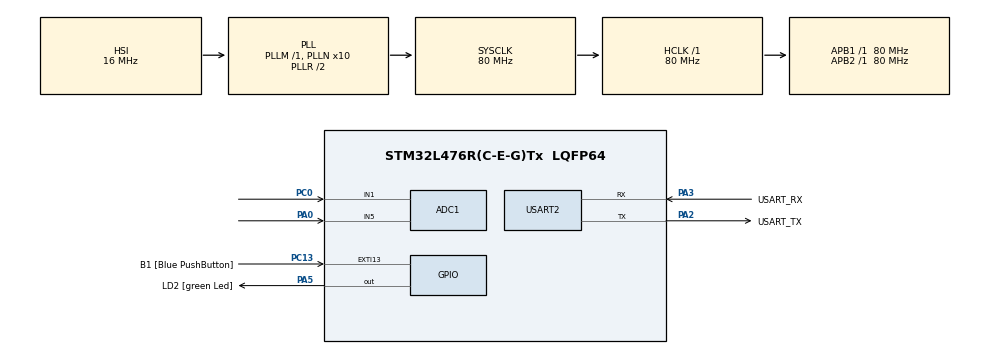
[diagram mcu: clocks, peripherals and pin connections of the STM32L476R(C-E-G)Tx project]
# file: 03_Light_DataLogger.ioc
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ADC1.Channel-0\#ChannelRegularConversion=ADC_CHANNEL_1
ADC1.Channel-1\#ChannelRegularConversion=ADC_CHANNEL_5
ADC1.ContinuousConvMode=DISABLE
ADC1.DiscontinuousConvMode=ENABLE
ADC1.NbrOfConversion=2
ADC1.NbrOfConversionFlag=1
ADC1.OffsetNumber-0\#ChannelRegularConversion=ADC_OFFSET_NONE
ADC1.OffsetNumber-1\#ChannelRegularConversion=ADC_OFFSET_NONE
ADC1.Rank-0\#ChannelRegularConversion=1
ADC1.Rank-1\#ChannelRegularConversion=2
ADC1.SamplingTime-0\#ChannelRegularConversion=ADC_SAMPLETIME_247CYCLES_5
ADC1.SamplingTime-1\#ChannelRegularConversion=ADC_SAMPLETIME_247CYCLES_5
ADC1.master=1
Mcu.Family=STM32L4
Mcu.Name=STM32L476R(C-E-G)Tx
Mcu.Package=LQFP64
NVIC.PriorityGroup=NVIC_PRIORITYGROUP_4
NVIC.TIM6_DAC_IRQn=true\:0\:0\:false\:false\:true\:true\:true\:true
NVIC.USART2_IRQn=true\:0\:0\:false\:false\:true\:true\:true\:true
PA0.Signal=ADCx_IN5
PA13\ (JTMS-SWDIO).GPIO_Label=TMS
PA13\ (JTMS-SWDIO).Mode=Serial_Wire
PA13\ (JTMS-SWDIO).Signal=SYS_JTMS-SWDIO
PA14\ (JTCK-SWCLK).GPIO_Label=TCK
PA14\ (JTCK-SWCLK).Mode=Serial_Wire
PA14\ (JTCK-SWCLK).Signal=SYS_JTCK-SWCLK
PA2.GPIO_Label=USART_TX
PA2.GPIO_Mode=GPIO_MODE_AF_PP
PA2.GPIO_PuPd=GPIO_NOPULL
PA2.GPIO_Speed=GPIO_SPEED_FREQ_VERY_HIGH
PA2.Mode=Asynchronous
PA2.Signal=USART2_TX
PA3.GPIO_Label=USART_RX
PA3.GPIO_Mode=GPIO_MODE_AF_PP
PA3.GPIO_PuPd=GPIO_NOPULL
PA3.GPIO_Speed=GPIO_SPEED_FREQ_VERY_HIGH
PA3.Mode=Asynchronous
PA3.Signal=USART2_RX
PA5.GPIO_Label=LD2 [green Led]
PA5.GPIO_ModeDefaultOutputPP=GPIO_MODE_OUTPUT_PP
PA5.GPIO_PuPd=GPIO_NOPULL
PA5.GPIO_Speed=GPIO_SPEED_FREQ_LOW
PA5.Signal=GPIO_Output
PB3\ (JTDO-TRACESWO).GPIO_Label=SWO
PB3\ (JTDO-TRACESWO).Signal=SYS_JTDO-SWO
PC0.Signal=ADCx_IN1
PC13.GPIO_Label=B1 [Blue PushButton]
PC13.GPIO_ModeDefaultEXTI=GPIO_MODE_IT_FALLING
PC13.GPIO_PuPd=GPIO_NOPULL
PC13.Signal=GPXTI13
PC14-OSC32_IN\ (PC14).Mode=LSE-External-Oscillator
PC14-OSC32_IN\ (PC14).Signal=RCC_OSC32_IN
PC15-OSC32_OUT\ (PC15).Mode=LSE-External-Oscillator
PC15-OSC32_OUT\ (PC15).Signal=RCC_OSC32_OUT
PH0-OSC_IN\ (PH0).Signal=RCC_OSC_IN
PH1-OSC_OUT\ (PH1).Signal=RCC_OSC_OUT
ProjectManager.HeapSize=0x200
ProjectManager.StackSize=0x400
ProjectManager.TargetToolchain=STM32CubeIDE
RCC.ADCFreq_Value=64000000
RCC.AHBFreq_Value=80000000
RCC.APB1Freq_Value=80000000
RCC.APB1TimFreq_Value=80000000
RCC.APB2Freq_Value=80000000
RCC.APB2TimFreq_Value=80000000
RCC.CortexFreq_Value=80000000
RCC.HCLKFreq_Value=80000000
RCC.HSE_VALUE=8000000
RCC.HSI_VALUE=16000000
RCC.MSI_VALUE=4000000
RCC.PLLN=10
RCC.PLLSourceVirtual=RCC_PLLSOURCE_HSI
RCC.PREFETCH_ENABLE=1
RCC.SYSCLKFreq_VALUE=80000000
RCC.SYSCLKSource=RCC_SYSCLKSOURCE_PLLCLK
RCC.USBFreq_Value=64000000
RCC.VCOOutputFreq_Value=160000000
SH.ADCx_IN1.0=ADC1_IN1,IN1-Single-Ended
SH.ADCx_IN5.0=ADC1_IN5,IN5-Single-Ended
TIM6.Period=999
TIM6.Prescaler=15999
USART2.VirtualMode-Asynchronous=VM_ASYNC
VP_TIM6_VS_ClockSourceINT.Mode=Enable_Timer
board=NUCLEO-L476RG

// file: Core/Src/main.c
/* USER CODE BEGIN Header */
/**
  ******************************************************************************
  * @file           : main.c
  * @brief          : Main program body
  ******************************************************************************
  * @attention
  *
  * Copyright (c) 2026 STMicroelectronics.
  * All rights reserved.
  *
  * This software is licensed under terms that can be found in the LICENSE file
  * in the root directory of this software component.
  * If no LICENSE file comes with this software, it is provided AS-IS.
  *
  ******************************************************************************
  */
/* USER CODE END Header */
#include "main.h"

ADC_HandleTypeDef hadc1;

TIM_HandleTypeDef htim6;

UART_HandleTypeDef huart2;

void SystemClock_Config(void);
static void MX_GPIO_Init(void);
static void MX_ADC1_Init(void);
static void MX_TIM6_Init(void);
static void MX_USART2_UART_Init(void);

int main(void)
{

  /* MCU Configuration--------------------------------------------------------*/

  /* Reset of all peripherals, Initializes the Flash interface and the Systick. */
  HAL_Init();

  /* Configure the system clock */
  SystemClock_Config();

  /* Initialize all configured peripherals */
  MX_GPIO_Init();
  MX_ADC1_Init();
  MX_TIM6_Init();
  MX_USART2_UART_Init();
  /* USER CODE BEGIN 2 */
HAL_ADC_Start(&hadc1);			// Starting ADC
HAL_TIM_Base_Start_IT(&htim6);	// Starting TIM with interrupt
  /* USER CODE END 2 */

  /* Infinite loop */
  while (1)
  {

  }
}

void SystemClock_Config(void)
{
  RCC_OscInitTypeDef RCC_OscInitStruct = {0};
  RCC_ClkInitTypeDef RCC_ClkInitStruct = {0};

  /** Configure the main internal regulator output voltage
  */
  if (HAL_PWREx_ControlVoltageScaling(PWR_REGULATOR_VOLTAGE_SCALE1) != HAL_OK)
  {
    Error_Handler();
  }

  /** Initializes the RCC Oscillators according to the specified parameters
  * in the RCC_OscInitTypeDef structure.
  */
  RCC_OscInitStruct.OscillatorType = RCC_OSCILLATORTYPE_HSI;
  RCC_OscInitStruct.HSIState = RCC_HSI_ON;
  RCC_OscInitStruct.HSICalibrationValue = RCC_HSICALIBRATION_DEFAULT;
  RCC_OscInitStruct.PLL.PLLState = RCC_PLL_ON;
  RCC_OscInitStruct.PLL.PLLSource = RCC_PLLSOURCE_HSI;
  RCC_OscInitStruct.PLL.PLLM = 1;
  RCC_OscInitStruct.PLL.PLLN = 10;
  RCC_OscInitStruct.PLL.PLLP = RCC_PLLP_DIV7;
  RCC_OscInitStruct.PLL.PLLQ = RCC_PLLQ_DIV2;
  RCC_OscInitStruct.PLL.PLLR = RCC_PLLR_DIV2;
  if (HAL_RCC_OscConfig(&RCC_OscInitStruct) != HAL_OK)
  {
    Error_Handler();
  }

  /** Initializes the CPU, AHB and APB buses clocks
  */
  RCC_ClkInitStruct.ClockType = RCC_CLOCKTYPE_HCLK|RCC_CLOCKTYPE_SYSCLK
                              |RCC_CLOCKTYPE_PCLK1|RCC_CLOCKTYPE_PCLK2;
  RCC_ClkInitStruct.SYSCLKSource = RCC_SYSCLKSOURCE_PLLCLK;
  RCC_ClkInitStruct.AHBCLKDivider = RCC_SYSCLK_DIV1;
  RCC_ClkInitStruct.APB1CLKDivider = RCC_HCLK_DIV1;
  RCC_ClkInitStruct.APB2CLKDivider = RCC_HCLK_DIV1;

  if (HAL_RCC_ClockConfig(&RCC_ClkInitStruct, FLASH_LATENCY_4) != HAL_OK)
  {
    Error_Handler();
  }
}

static void MX_ADC1_Init(void)
{

  ADC_MultiModeTypeDef multimode = {0};
  ADC_ChannelConfTypeDef sConfig = {0};

  /** Common config
  */
  hadc1.Instance = ADC1;
  hadc1.Init.ClockPrescaler = ADC_CLOCK_ASYNC_DIV1;
  hadc1.Init.Resolution = ADC_RESOLUTION_12B;
  hadc1.Init.DataAlign = ADC_DATAALIGN_RIGHT;
  hadc1.Init.ScanConvMode = ADC_SCAN_ENABLE;
  hadc1.Init.EOCSelection = ADC_EOC_SINGLE_CONV;
  hadc1.Init.LowPowerAutoWait = DISABLE;
  hadc1.Init.ContinuousConvMode = DISABLE;
  hadc1.Init.NbrOfConversion = 2;
  hadc1.Init.DiscontinuousConvMode = ENABLE;
  hadc1.Init.NbrOfDiscConversion = 1;
  hadc1.Init.ExternalTrigConv = ADC_SOFTWARE_START;
  hadc1.Init.ExternalTrigConvEdge = ADC_EXTERNALTRIGCONVEDGE_NONE;
  hadc1.Init.DMAContinuousRequests = DISABLE;
  hadc1.Init.Overrun = ADC_OVR_DATA_PRESERVED;
  hadc1.Init.OversamplingMode = DISABLE;
  if (HAL_ADC_Init(&hadc1) != HAL_OK)
  {
    Error_Handler();
  }

  /** Configure the ADC multi-mode
  */
  multimode.Mode = ADC_MODE_INDEPENDENT;
  if (HAL_ADCEx_MultiModeConfigChannel(&hadc1, &multimode) != HAL_OK)
  {
    Error_Handler();
  }

  /** Configure Regular Channel
  */
  sConfig.Channel = ADC_CHANNEL_1;
  sConfig.Rank = ADC_REGULAR_RANK_1;
  sConfig.SamplingTime = ADC_SAMPLETIME_247CYCLES_5;
  sConfig.SingleDiff = ADC_SINGLE_ENDED;
  sConfig.OffsetNumber = ADC_OFFSET_NONE;
  sConfig.Offset = 0;
  if (HAL_ADC_ConfigChannel(&hadc1, &sConfig) != HAL_OK)
  {
    Error_Handler();
  }

  /** Configure Regular Channel
  */
  sConfig.Channel = ADC_CHANNEL_5;
  sConfig.Rank = ADC_REGULAR_RANK_2;
  if (HAL_ADC_ConfigChannel(&hadc1, &sConfig) != HAL_OK)
  {
    Error_Handler();
  }

}

static void MX_TIM6_Init(void)
{

  TIM_MasterConfigTypeDef sMasterConfig = {0};

  htim6.Instance = TIM6;
  htim6.Init.Prescaler = 15999;
  htim6.Init.CounterMode = TIM_COUNTERMODE_UP;
  htim6.Init.Period = 999;
  htim6.Init.AutoReloadPreload = TIM_AUTORELOAD_PRELOAD_DISABLE;
  if (HAL_TIM_Base_Init(&htim6) != HAL_OK)
  {
    Error_Handler();
  }
  sMasterConfig.MasterOutputTrigger = TIM_TRGO_RESET;
  sMasterConfig.MasterSlaveMode = TIM_MASTERSLAVEMODE_DISABLE;
  if (HAL_TIMEx_MasterConfigSynchronization(&htim6, &sMasterConfig) != HAL_OK)
  {
    Error_Handler();
  }

}

static void MX_USART2_UART_Init(void)
{

  huart2.Instance = USART2;
  huart2.Init.BaudRate = 115200;
  huart2.Init.WordLength = UART_WORDLENGTH_8B;
  huart2.Init.StopBits = UART_STOPBITS_1;
  huart2.Init.Parity = UART_PARITY_NONE;
  huart2.Init.Mode = UART_MODE_TX_RX;
  huart2.Init.HwFlowCtl = UART_HWCONTROL_NONE;
  huart2.Init.OverSampling = UART_OVERSAMPLING_16;
  huart2.Init.OneBitSampling = UART_ONE_BIT_SAMPLE_DISABLE;
  huart2.AdvancedInit.AdvFeatureInit = UART_ADVFEATURE_NO_INIT;
  if (HAL_UART_Init(&huart2) != HAL_OK)
  {
    Error_Handler();
  }

}

static void MX_GPIO_Init(void)
{
  GPIO_InitTypeDef GPIO_InitStruct = {0};

  /* GPIO Ports Clock Enable */
  __HAL_RCC_GPIOC_CLK_ENABLE();
  __HAL_RCC_GPIOH_CLK_ENABLE();
  __HAL_RCC_GPIOA_CLK_ENABLE();
  __HAL_RCC_GPIOB_CLK_ENABLE();

  /*Configure GPIO pin Output Level */
  HAL_GPIO_WritePin(LD2_GPIO_Port, LD2_Pin, GPIO_PIN_RESET);

  /*Configure GPIO pin : B1_Pin */
  GPIO_InitStruct.Pin = B1_Pin;
  GPIO_InitStruct.Mode = GPIO_MODE_IT_FALLING;
  GPIO_InitStruct.Pull = GPIO_NOPULL;
  HAL_GPIO_Init(B1_GPIO_Port, &GPIO_InitStruct);

  /*Configure GPIO pin : LD2_Pin */
  GPIO_InitStruct.Pin = LD2_Pin;
  GPIO_InitStruct.Mode = GPIO_MODE_OUTPUT_PP;
  GPIO_InitStruct.Pull = GPIO_NOPULL;
  GPIO_InitStruct.Speed = GPIO_SPEED_FREQ_LOW;
  HAL_GPIO_Init(LD2_GPIO_Port, &GPIO_InitStruct);

}

/* USER CODE BEGIN 4 */
void HAL_TIM_PeriodElapsedCallback(TIM_HandleTypeDef *htim)
{
	if (htim->Instance == TIM6)
	{
		// Wake up ADC1
		HAL_ADC_Start(&hadc1);

		// Wait (max 10ms) to end measurements (Light)
		if (HAL_ADC_PollForConversion(&hadc1, 10) == HAL_OK)
		{
			uint32_t light_value = HAL_ADC_GetValue(&hadc1);

			HAL_ADC_Start(&hadc1);

			// Wait (max 10ms) to end measurements (Temperature)
			if (HAL_ADC_PollForConversion(&hadc1, 10) == HAL_OK)
			{
				uint32_t temp_value = HAL_ADC_GetValue(&hadc1);

				// 2. Light Frame
				uint8_t light_frame[6];
				light_frame[0] = 0x02; // STX
				light_frame[1] = 0x01; // Sensor ID (1 = photoresistor)
				light_frame[2] = 0x00; // Constant measurement
				light_frame[3] = (light_value >> 8) & 0xFF; // MSB
				light_frame[4] = light_value & 0xFF; // LSB
				light_frame[5] = 0x03; // ETX

				HAL_UART_Transmit(&huart2, light_frame, 6, 100);

				// 3. Temperature Frame
				uint8_t temp_frame[6];
				temp_frame[0] = 0x02; // STX
				temp_frame[1] = 0x02; // Sensor ID (2 = thermistor)
				temp_frame[2] = 0x00;
				temp_frame[3] = (temp_value >> 8) & 0xFF;
				temp_frame[4] = temp_value & 0xFF;
				temp_frame[5] = 0x03; // ETX

				HAL_UART_Transmit(&huart2, temp_frame, 6, 100);
			}
		}
		HAL_ADC_Stop(&hadc1);
	}
}
/* USER CODE END 4 */

void Error_Handler(void)
{
  __disable_irq();
  while (1)
  {
  }
}
